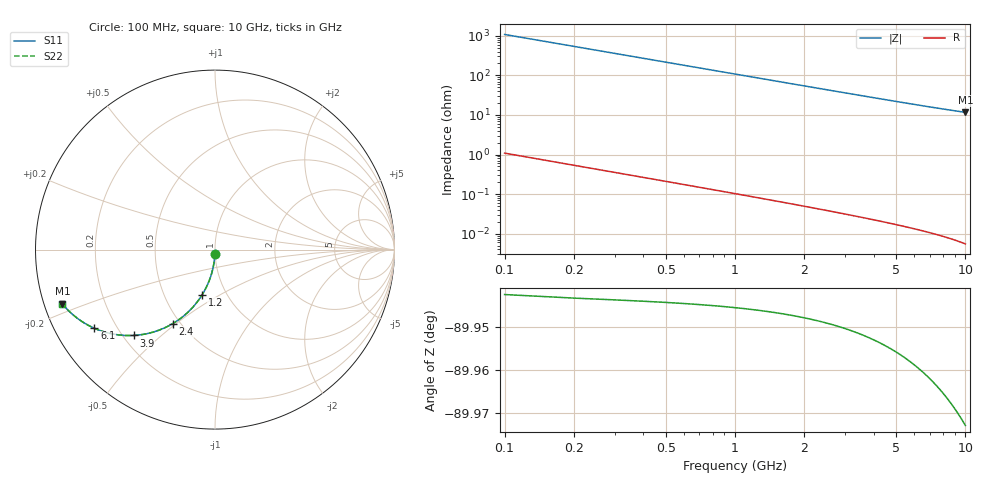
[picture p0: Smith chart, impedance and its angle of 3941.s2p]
# Hz S RI R 50.00
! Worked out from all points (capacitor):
!   100 points, 100 MHz to 10 GHz, reference 50 ohm
!   read as one part in shunt: C = 1.47 pF near 100 MHz
!   lowest |Z| = 11.6 ohm at 10 GHz (marker M1)
!   S11 on the Smith chart (normalised r, x): 100 MHz: 1.00, -0.05; 1.2 GHz: 0.77, -0.42; 2.4 GHz: 0.45, -0.49; 3.9 GHz: 0.24, -0.41; 6.1 GHz: 0.12, -0.29; 10 GHz: 0.05, -0.17
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1e8  -0.00033 -0.0226  0.9992 -0.0236  0.9992 -0.0236  -0.00033 -0.0226
2e8  -0.00195 -0.0452  0.9976 -0.0472  0.9976 -0.0472  -0.00195 -0.0452
3e8  -0.00463 -0.0676  0.9949 -0.0706  0.9949 -0.0706  -0.00463 -0.0676
4e8  -0.00835 -0.0898  0.9912 -0.0937  0.9912 -0.0937  -0.00835 -0.0898
5e8  -0.0131 -0.1118  0.9864 -0.1166  0.9864 -0.1166  -0.0131 -0.1118
6e8  -0.0188 -0.1333  0.9807 -0.1392  0.9807 -0.1392  -0.0188 -0.1333
7e8  -0.0255 -0.1545  0.974 -0.1613  0.974 -0.1613  -0.0255 -0.1545
9e8  -0.0416 -0.1953  0.9579 -0.204  0.9579 -0.204  -0.0416 -0.1953
1.2e9  -0.0717 -0.252  0.9278 -0.2637  0.9278 -0.2637  -0.0717 -0.252
1.5e9  -0.1077 -0.3026  0.8917 -0.3172  0.8917 -0.3172  -0.1077 -0.3026
1.8e9  -0.1482 -0.3464  0.8511 -0.3639  0.8511 -0.3639  -0.1482 -0.3464
2.1e9  -0.1917 -0.3831  0.8076 -0.4036  0.8076 -0.4036  -0.1917 -0.3831
2.4e9  -0.2366 -0.413  0.7626 -0.4365  0.7626 -0.4365  -0.2366 -0.413
2.9e9  -0.312 -0.4488  0.6871 -0.4772  0.6871 -0.4772  -0.312 -0.4488
3.4e9  -0.3845 -0.4694  0.6144 -0.5027  0.6144 -0.5027  -0.3845 -0.4694
3.9e9  -0.4518 -0.4781  0.5469 -0.5163  0.5469 -0.5163  -0.4518 -0.4781
5.1e9  -0.5868 -0.4665  0.4114 -0.5169  0.4114 -0.5169  -0.5868 -0.4665
6.1e9  -0.6718 -0.4383  0.3258 -0.4988  0.3258 -0.4988  -0.6718 -0.4383
6.7e9  -0.7128 -0.4179  0.2845 -0.4846  0.2845 -0.4846  -0.7128 -0.4179
7.5e9  -0.7579 -0.3892  0.2387 -0.4643  0.2387 -0.4643  -0.7579 -0.3892
8.4e9  -0.7983 -0.3567  0.1975 -0.4414  0.1975 -0.4414  -0.7983 -0.3567
1e10  -0.8506 -0.3019  0.1436 -0.4041  0.1436 -0.4041  -0.8506 -0.3019
